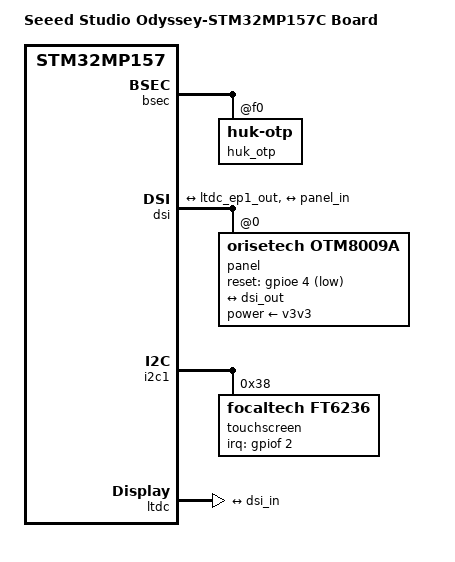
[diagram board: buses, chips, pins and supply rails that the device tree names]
// optee_os/core/arch/arm/dts/stm32mp157c-odyssey.dts
// SPDX-License-Identifier: (GPL-2.0+ OR BSD-3-Clause)
/*
 * Copyright (C) STMicroelectronics 2019 - All Rights Reserved
 * Author: Alexandre Torgue <alexandre.torgue@st.com> for STMicroelectronics.
 */

/dts-v1/;

#include "stm32mp157.dtsi"
#include "stm32mp15xc.dtsi"
#include "stm32mp15-pinctrl.dtsi"
#include "stm32mp15xxac-pinctrl.dtsi"
#include "stm32mp157c-odyssey.dtsi"

/ {
	model = "Seeed Studio Odyssey-STM32MP157C Board";
	compatible = "seeed,stm32mp157c-odyssey",
		     "seeed,stm32mp157c-odyssey-som", "st,stm32mp157";

	aliases {
		ethernet0 = &ethernet0;
		serial0 = &uart4;
	};

	chosen {
		stdout-path = "serial0:115200n8";
	};
};

&bsec {
	huk_otp: huk-otp@f0 {
		reg = <0xf0 0x10>;
	};
};

&dsi {
	status = "okay";
	phy-dsi-supply = <&reg18>;

	ports {
		port@0 {
			reg = <0>;
			dsi_in: endpoint {
				remote-endpoint = <&ltdc_ep1_out>;
			};
		};

		port@1 {
			reg = <1>;
			dsi_out: endpoint {
				remote-endpoint = <&panel_in>;
			};
		};
	};

	panel@0 {
		compatible = "orisetech,otm8009a";
		reg = <0>;
		reset-gpios = <&gpioe 4 GPIO_ACTIVE_LOW>;
		power-supply = <&v3v3>;
		status = "okay";

		port {
			panel_in: endpoint {
				remote-endpoint = <&dsi_out>;
			};
		};
	};
};

&etzpc {
	st,decprot = <
		DECPROT(STM32MP1_ETZPC_USART1_ID, DECPROT_NS_RW, DECPROT_UNLOCK)
		DECPROT(STM32MP1_ETZPC_SPI6_ID, DECPROT_NS_RW, DECPROT_UNLOCK)
		DECPROT(STM32MP1_ETZPC_I2C2_ID, DECPROT_NS_RW, DECPROT_UNLOCK)
		DECPROT(STM32MP1_ETZPC_I2C4_ID, DECPROT_NS_RW, DECPROT_UNLOCK)
		DECPROT(STM32MP1_ETZPC_I2C6_ID, DECPROT_NS_RW, DECPROT_UNLOCK)
		DECPROT(STM32MP1_ETZPC_RNG1_ID, DECPROT_S_RW, DECPROT_UNLOCK)
		DECPROT(STM32MP1_ETZPC_HASH1_ID, DECPROT_NS_RW, DECPROT_UNLOCK)
		DECPROT(STM32MP1_ETZPC_CRYP1_ID, DECPROT_NS_RW, DECPROT_UNLOCK)
		DECPROT(STM32MP1_ETZPC_DDRCTRL_ID, DECPROT_NS_R_S_W, DECPROT_LOCK)
		DECPROT(STM32MP1_ETZPC_DDRPHYC_ID, DECPROT_NS_R_S_W, DECPROT_LOCK)
		DECPROT(STM32MP1_ETZPC_STGENC_ID, DECPROT_S_RW, DECPROT_LOCK)
		DECPROT(STM32MP1_ETZPC_BKPSRAM_ID, DECPROT_S_RW, DECPROT_LOCK)
		DECPROT(STM32MP1_ETZPC_IWDG1_ID, DECPROT_S_RW, DECPROT_LOCK)
	>;
};

&i2c1 {
	touchscreen@38 {
		compatible = "focaltech,ft6236";
		reg = <0x38>;
		interrupts = <2 2>;
		#interrupt-cells = <2>;
		interrupt-parent = <&gpiof>;
		interrupt-controller;
		touchscreen-size-x = <480>;
		touchscreen-size-y = <800>;
		status = "okay";
	};
};

&ltdc {
	status = "okay";

	port {
		ltdc_ep1_out: endpoint@1 {
			reg = <1>;
			remote-endpoint = <&dsi_in>;
		};
	};
};

&mcusram1 {
	access-controllers-conf-default = <&etzpc DECPROT(STM32MP1_ETZPC_SRAM1_ID, DECPROT_MCU_ISOLATION, DECPROT_UNLOCK)>;
	access-controllers-conf-load = <&etzpc DECPROT(STM32MP1_ETZPC_SRAM1_ID, DECPROT_S_RW, DECPROT_UNLOCK)>;
};

&mcusram2 {
	access-controllers-conf-default = <&etzpc DECPROT(STM32MP1_ETZPC_SRAM2_ID, DECPROT_MCU_ISOLATION, DECPROT_UNLOCK)>;
	access-controllers-conf-load = <&etzpc DECPROT(STM32MP1_ETZPC_SRAM2_ID, DECPROT_S_RW, DECPROT_UNLOCK)>;
};

&mcusram3 {
	access-controllers-conf-default = <&etzpc DECPROT(STM32MP1_ETZPC_SRAM3_ID, DECPROT_NS_RW, DECPROT_UNLOCK)>;
	access-controllers-conf-load = <&etzpc DECPROT(STM32MP1_ETZPC_SRAM3_ID, DECPROT_S_RW, DECPROT_UNLOCK)>;
};

&retram {
	access-controllers-conf-default = <&etzpc DECPROT(STM32MP1_ETZPC_RETRAM_ID, DECPROT_MCU_ISOLATION, DECPROT_UNLOCK)>;
	access-controllers-conf-load = <&etzpc DECPROT(STM32MP1_ETZPC_RETRAM_ID, DECPROT_S_RW, DECPROT_UNLOCK)>;
};

&i2c2_pins_a {
	pins {
		pinmux = <STM32_PINMUX_NSEC('H', 4, AF4)>, /* I2C2_SCL */
				<STM32_PINMUX_NSEC('H', 5, AF4)>; /* I2C2_SDA */
		bias-disable;
		drive-open-drain;
		slew-rate = <0>;
	};
};

&i2c2_sleep_pins_a {
	pins {
		pinmux = <STM32_PINMUX_NSEC('H', 4, ANALOG)>, /* I2C2_SCL */
				<STM32_PINMUX_NSEC('H', 5, ANALOG)>; /* I2C2_SDA */
	};
};

&usart2 {
	pinctrl-names = "default", "sleep", "idle";
	pinctrl-0 = <&usart2_pins_c>;
	pinctrl-1 = <&usart2_sleep_pins_c>;
	pinctrl-2 = <&usart2_idle_pins_c>;
	status = "disabled";
};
